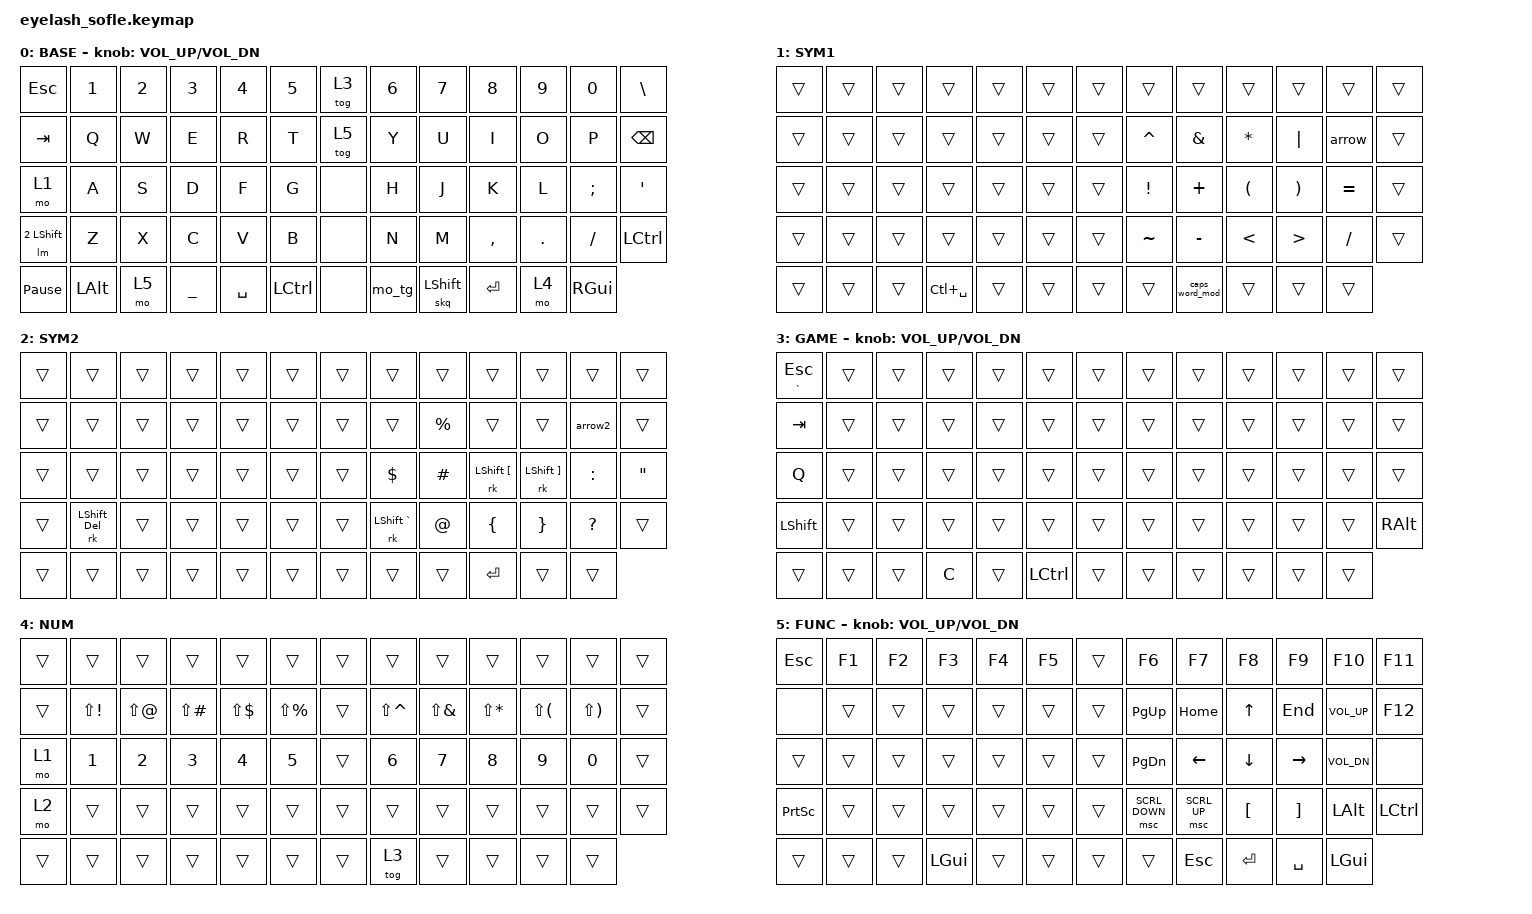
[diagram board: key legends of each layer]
#define ZMK_POINTING_DEFAULT_MOVE_VAL 1200  // 600
#define ZMK_POINTING_DEFAULT_SCRL_VAL 50   // 10

#include <input/processors.dtsi>
#include <zephyr/dt-bindings/input/input-event-codes.h>
#include <behaviors.dtsi>
#include <dt-bindings/zmk/keys.h>
#include <dt-bindings/zmk/pointing.h>

//&mmv_input_listener { input-processors = <&zip_xy_scaler 2 1>; };
//&msc_input_listener { input-processors = <&zip_scroll_scaler 2 1>; };

&mmv {
    time-to-max-speed-ms = <500>;
    acceleration-exponent = <1>;
    trigger-period-ms = <16>;
};

&msc {
    time-to-max-speed-ms = <50>;
    acceleration-exponent = <1>;
};

/ {
    combos {
        compatible = "zmk,combos";

        lang {
            bindings = <&kp RALT>;
            key-positions = <34 35>;
            layers = <0>;
            timeout-ms = <50>;
        };

        b_key {
            bindings = <&kp B>;
            key-positions = <35 36>;
            layers = <0>;
            timeout-ms = <50>;
        };
    };

    macros {
        arrow: arrow {
            compatible = "zmk,behavior-macro";
            #binding-cells = <0>;
            bindings = <&kp MINUS &kp GT>;
        };

        arrow2: arrow2 {
            compatible = "zmk,behavior-macro";
            #binding-cells = <0>;
            bindings =
                <&macro_release>,
                <&kp LSHFT>,
                <&macro_tap>,
                <&kp EQUAL &kp GT>;
        };

        lm: lm {
            compatible = "zmk,behavior-macro-two-param";
            wait-ms = <0>;
            tap-ms = <0>;
            #binding-cells = <2>;
            bindings =
                <&macro_param_1to1>,
                <&macro_press>,
                <&mo MACRO_PLACEHOLDER &macro_param_2to1>,
                <&macro_press>,
                <&kp MACRO_PLACEHOLDER>,
                <&macro_pause_for_release>,
                <&macro_param_2to1>,
                <&macro_release>,
                <&kp MACRO_PLACEHOLDER &macro_param_1to1>,
                <&macro_release>,
                <&mo MACRO_PLACEHOLDER>;
        };

        rk: rk {
            compatible = "zmk,behavior-macro-two-param";
            wait-ms = <0>;
            tap-ms = <0>;
            #binding-cells = <2>;
            bindings =
                <&macro_param_1to1>,
                <&macro_release>,
                <&kp MACRO_PLACEHOLDER &macro_param_2to1>,
                <&macro_tap>,
                <&kp MACRO_PLACEHOLDER>;
        };
    };

    behaviors {
        KA: keepalive {
            compatible = "zmk,behavior-keepalive";
            #binding-cells = <0>;
            broadcast-period-ms = <5000>;
        };

        skq: sticky_key_quick_release {
            compatible = "zmk,behavior-sticky-key";
            #binding-cells = <1>;
            bindings = <&kp>;
            release-after-ms = <500>;
            quick-release;
        };

        caps_word_mod: caps_word_mod {
            compatible = "zmk,behavior-caps-word";
            #binding-cells = <0>;
            continue-list = <MINUS UNDERSCORE BSPC>;
        };

        G_ESC: G_ESC {
            compatible = "zmk,behavior-hold-tap";
            bindings = <&kp>, <&kp>;

            #binding-cells = <2>;
            tapping-term-ms = <130>;
            hold-trigger-key-positions = <0>;
            flavor = "tap-preferred";
        };

        SH_CAPS: SH_CAPS {
            compatible = "zmk,behavior-tap-dance";
            #binding-cells = <0>;
            bindings = <&skq LSHFT>, <&caps_word_mod>;
        };

        tog_nolock: tog_nolock {
            compatible = "zmk,behavior-toggle-layer";
            #binding-cells = <1>;
            display-name = "Toggle No Locking";
            /delete-property/ locking;
        };

        mo_tg: mo_tg {
            compatible = "zmk,behavior-tap-dance";
            #binding-cells = <0>;
            bindings = <&mo 5>, <&tog_nolock 5>;
        };

        mouse_scroll: sensor_scroll {
            compatible = "zmk,behavior-sensor-rotate-var";
            #sensor-binding-cells = <2>;
            bindings = <&msc>, <&msc>;
        };

        func: func {
            compatible = "zmk,behavior-tap-dance";
            #binding-cells = <0>;
            bindings = <&kp F11>, <&kp F12>;

            tapping-term-ms = <200>;
        };
    };

    keymap {
        compatible = "zmk,keymap";

        BASE {
            bindings = <
&kp ESC          &kp N1    &kp N2  &kp N3          &kp N4     &kp N5       &tog 3  &kp N6  &kp N7      &kp N8     &kp N9   &kp N0    &kp BACKSLASH
&kp TAB          &kp Q     &kp W   &kp E           &kp R      &kp T        &tog 5  &kp Y   &kp U       &kp I      &kp O    &kp P     &kp BACKSPACE
&mo 1            &kp A     &kp S   &kp D           &kp F      &kp G        &none   &kp H   &kp J       &kp K      &kp L    &kp SEMI  &kp APOS
&lm 2 LSHFT      &kp Z     &kp X   &kp C           &kp V      &kp B        &none   &kp N   &kp M       &kp COMMA  &kp DOT  &kp FSLH  &kp LCTRL
&kp PAUSE_BREAK  &kp LALT  &mo 5   &kp UNDERSCORE  &kp SPACE  &kp LCTRL    &none   &mo_tg  &skq LSHFT  &kp ENTER  &mo 4    &kp RGUI
            >;

            sensor-bindings = <&inc_dec_kp C_VOLUME_UP C_VOL_DN>;
            display-name = "BASE";
        };

        SYM1 {
            bindings = <
&trans  &trans  &trans  &trans         &trans  &trans    &trans  &trans           &trans          &trans                &trans                 &trans     &trans
&trans  &trans  &trans  &trans         &trans  &trans    &trans  &kp CARET        &kp AMPERSAND   &kp ASTRK             &kp PIPE               &arrow     &trans
&trans  &trans  &trans  &trans         &trans  &trans    &trans  &kp EXCLAMATION  &kp PLUS        &kp LEFT_PARENTHESIS  &kp RIGHT_PARENTHESIS  &kp EQUAL  &trans
&trans  &trans  &trans  &trans         &trans  &trans    &trans  &kp TILDE        &kp MINUS       &kp LESS_THAN         &kp GREATER_THAN       &kp FSLH   &trans
&trans  &trans  &trans  &kp LC(SPACE)  &trans  &trans    &trans  &trans           &caps_word_mod  &trans                &trans                 &trans
            >;

            display-name = "SYM1";
            //sensor-bindings = <&mouse_scroll SCRL_UP SCRL_DOWN>;
        };

        SYM2 {
            bindings = <
&trans  &trans            &trans  &trans  &trans  &trans    &trans  &trans           &trans       &trans                  &trans                   &trans        &trans
&trans  &trans            &trans  &trans  &trans  &trans    &trans  &trans           &kp PERCENT  &trans                  &trans                   &arrow2       &trans
&trans  &trans            &trans  &trans  &trans  &trans    &trans  &kp DOLLAR       &kp HASH     &rk LSHFT LEFT_BRACKET  &rk LSHFT RIGHT_BRACKET  &kp COLON     &kp DOUBLE_QUOTES
&trans  &rk LSHFT DELETE  &trans  &trans  &trans  &trans    &trans  &rk LSHFT GRAVE  &kp AT_SIGN  &kp LBRC                &kp RIGHT_BRACE          &kp QUESTION  &trans
&trans  &trans            &trans  &trans  &trans  &trans    &trans  &trans           &trans       &kp ENTER               &trans                   &trans
            >;

            display-name = "SYM2";
        };

        GAME {
            bindings = <
&G_ESC GRAVE ESCAPE  &trans  &trans  &trans  &trans  &trans       &trans  &trans  &trans  &trans  &trans  &trans  &trans
&kp TAB              &trans  &trans  &trans  &trans  &trans       &trans  &trans  &trans  &trans  &trans  &trans  &trans
&kp Q                &trans  &trans  &trans  &trans  &trans       &trans  &trans  &trans  &trans  &trans  &trans  &trans
&kp LSHFT            &trans  &trans  &trans  &trans  &trans       &trans  &trans  &trans  &trans  &trans  &trans  &kp RALT
&trans               &trans  &trans  &kp C   &trans  &kp LCTRL    &trans  &trans  &trans  &trans  &trans  &trans
            >;

            display-name = "GAME";
            sensor-bindings = <&inc_dec_kp C_VOLUME_UP C_VOL_DN>;
        };

        NUM {
            bindings = <
&trans  &trans        &trans      &trans         &trans        &trans           &trans  &trans         &trans        &trans        &trans        &trans        &trans
&trans  &kp LS(EXCL)  &kp LS(AT)  &kp LS(POUND)  &kp LS(DLLR)  &kp LS(PRCNT)    &trans  &kp LS(CARET)  &kp LS(AMPS)  &kp LS(STAR)  &kp LS(LPAR)  &kp LS(RPAR)  &trans
&mo 1   &kp N1        &kp N2      &kp N3         &kp N4        &kp N5           &trans  &kp N6         &kp N7        &kp N8        &kp N9        &kp N0        &trans
&mo 2   &trans        &trans      &trans         &trans        &trans           &trans  &trans         &trans        &trans        &trans        &trans        &trans
&trans  &trans        &trans      &trans         &trans        &trans           &trans  &tog 3         &trans        &trans        &trans        &trans
            >;

            display-name = "NUM";
        };

        FUNC {
            bindings = <
&kp ESCAPE       &kp F1  &kp F2  &kp F3        &kp F4  &kp F5    &trans  &kp F6          &kp F7        &kp F8            &kp F9             &kp F10          &kp F11
&none            &trans  &trans  &trans        &trans  &trans    &trans  &kp PAGE_UP     &kp HOME      &kp UP            &kp END            &kp C_VOLUME_UP  &kp F12
&trans           &trans  &trans  &trans        &trans  &trans    &trans  &kp PAGE_DOWN   &kp LEFT      &kp DOWN          &kp RIGHT          &kp C_VOL_DN     &none
&kp PRINTSCREEN  &trans  &trans  &trans        &trans  &trans    &trans  &msc SCRL_DOWN  &msc SCRL_UP  &kp LEFT_BRACKET  &kp RIGHT_BRACKET  &kp LEFT_ALT     &kp LCTRL
&trans           &trans  &trans  &kp LEFT_GUI  &trans  &trans    &trans  &trans          &kp ESCAPE    &kp ENTER         &kp SPACE          &kp LEFT_GUI
            >;

            display-name = "FUNC";
            sensor-bindings = <&inc_dec_kp C_VOL_UP C_VOL_DN>;
        };
    };
};
